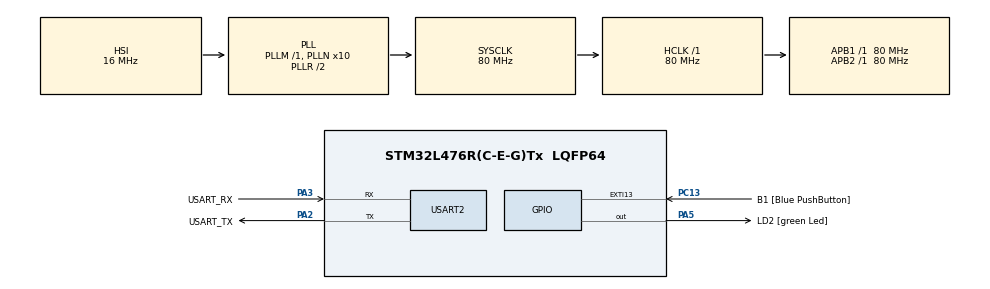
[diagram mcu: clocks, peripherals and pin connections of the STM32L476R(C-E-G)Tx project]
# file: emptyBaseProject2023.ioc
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Mcu.Family=STM32L4
Mcu.Name=STM32L476R(C-E-G)Tx
Mcu.Package=LQFP64
NVIC.PriorityGroup=NVIC_PRIORITYGROUP_4
PA13\ (JTMS-SWDIO).GPIO_Label=TMS
PA13\ (JTMS-SWDIO).Mode=Serial_Wire
PA13\ (JTMS-SWDIO).Signal=SYS_JTMS-SWDIO
PA14\ (JTCK-SWCLK).GPIO_Label=TCK
PA14\ (JTCK-SWCLK).Mode=Serial_Wire
PA14\ (JTCK-SWCLK).Signal=SYS_JTCK-SWCLK
PA2.GPIO_Label=USART_TX
PA2.GPIO_Mode=GPIO_MODE_AF_PP
PA2.GPIO_PuPd=GPIO_NOPULL
PA2.GPIO_Speed=GPIO_SPEED_FREQ_VERY_HIGH
PA2.Mode=Asynchronous
PA2.Signal=USART2_TX
PA3.GPIO_Label=USART_RX
PA3.GPIO_Mode=GPIO_MODE_AF_PP
PA3.GPIO_PuPd=GPIO_NOPULL
PA3.GPIO_Speed=GPIO_SPEED_FREQ_VERY_HIGH
PA3.Mode=Asynchronous
PA3.Signal=USART2_RX
PA5.GPIO_Label=LD2 [green Led]
PA5.GPIO_ModeDefaultOutputPP=GPIO_MODE_OUTPUT_PP
PA5.GPIO_PuPd=GPIO_NOPULL
PA5.GPIO_Speed=GPIO_SPEED_FREQ_LOW
PA5.Signal=GPIO_Output
PB3\ (JTDO-TRACESWO).GPIO_Label=SWO
PB3\ (JTDO-TRACESWO).Signal=SYS_JTDO-SWO
PC13.GPIO_Label=B1 [Blue PushButton]
PC13.GPIO_ModeDefaultEXTI=GPIO_MODE_IT_FALLING
PC13.GPIO_PuPd=GPIO_NOPULL
PC13.Signal=GPXTI13
PC14-OSC32_IN\ (PC14).Mode=LSE-External-Oscillator
PC14-OSC32_IN\ (PC14).Signal=RCC_OSC32_IN
PC15-OSC32_OUT\ (PC15).Mode=LSE-External-Oscillator
PC15-OSC32_OUT\ (PC15).Signal=RCC_OSC32_OUT
PH0-OSC_IN\ (PH0).Signal=RCC_OSC_IN
PH1-OSC_OUT\ (PH1).Signal=RCC_OSC_OUT
ProjectManager.HeapSize=0x200
ProjectManager.StackSize=0x400
ProjectManager.TargetToolchain=STM32CubeIDE
RCC.ADCFreq_Value=64000000
RCC.AHBFreq_Value=80000000
RCC.APB1Freq_Value=80000000
RCC.APB1TimFreq_Value=80000000
RCC.APB2Freq_Value=80000000
RCC.APB2TimFreq_Value=80000000
RCC.CortexFreq_Value=80000000
RCC.HCLKFreq_Value=80000000
RCC.HSE_VALUE=8000000
RCC.HSI_VALUE=16000000
RCC.MSI_VALUE=4000000
RCC.PLLN=10
RCC.PLLSourceVirtual=RCC_PLLSOURCE_HSI
RCC.PREFETCH_ENABLE=1
RCC.SYSCLKFreq_VALUE=80000000
RCC.SYSCLKSource=RCC_SYSCLKSOURCE_PLLCLK
RCC.USBFreq_Value=64000000
RCC.VCOOutputFreq_Value=160000000
USART2.VirtualMode-Asynchronous=VM_ASYNC
board=NUCLEO-L476RG

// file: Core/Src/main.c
/* USER CODE BEGIN Header */
/**
  ******************************************************************************
  * @file           : main.c
  * @brief          : Main program body
  ******************************************************************************
  * @attention
  *
  * Copyright (c) 2023 STMicroelectronics.
  * All rights reserved.
  *
  * This software is licensed under terms that can be found in the LICENSE file
  * in the root directory of this software component.
  * If no LICENSE file comes with this software, it is provided AS-IS.
  *
  ******************************************************************************
  */
/* USER CODE END Header */
#include "main.h"
#include <stdio.h>

UART_HandleTypeDef huart2;

void SystemClock_Config(void);
static void MX_GPIO_Init(void);
static void MX_USART2_UART_Init(void);

/* USER CODE BEGIN 0 */
#ifdef __GNUC__
#define PUTCHAR_PROTOTYPE int __io_putchar(int ch)
#define GETCHAR_PROTOTYPE int __io_getchar(void)
#else
#define PUTCHAR_PROTOTYPE int fputc(int ch, FILE *f)
#define GETCHAR_PROTOTYPE int fgetc(FILE *f)
#endif

PUTCHAR_PROTOTYPE
{
  HAL_UART_Transmit(&huart2, (uint8_t *)&ch, 1, HAL_MAX_DELAY);
  return ch;
}

GETCHAR_PROTOTYPE
{
  uint8_t ch = 0;

  /* Clear the Overrun flag just before receiving the first character */
  __HAL_UART_CLEAR_OREFLAG(&huart2);

  /* Wait for reception of a character on the USART RX line and echo this
   * character on console */
  HAL_UART_Receive(&huart2, (uint8_t *)&ch, 1, HAL_MAX_DELAY);
  HAL_UART_Transmit(&huart2, (uint8_t *)&ch, 1, HAL_MAX_DELAY);
  return ch;
}
/* USER CODE END 0 */

int main(void)
{

  /* MCU Configuration--------------------------------------------------------*/

  /* Reset of all peripherals, Initializes the Flash interface and the Systick. */
  HAL_Init();

  /* Configure the system clock */
  SystemClock_Config();

  /* Initialize all configured peripherals */
  MX_GPIO_Init();
  MX_USART2_UART_Init();
  /* USER CODE BEGIN 2 */
setvbuf(stdin, NULL, _IONBF, 0);	// Buffer d'entrée à 0 pour que scanf fonctionne.

setup();
  /* USER CODE END 2 */

  /* Infinite loop */
  while (1)
  {
	  loop();
  }
}

void SystemClock_Config(void)
{
  RCC_OscInitTypeDef RCC_OscInitStruct = {0};
  RCC_ClkInitTypeDef RCC_ClkInitStruct = {0};

  /** Configure the main internal regulator output voltage
  */
  if (HAL_PWREx_ControlVoltageScaling(PWR_REGULATOR_VOLTAGE_SCALE1) != HAL_OK)
  {
    Error_Handler();
  }

  /** Initializes the RCC Oscillators according to the specified parameters
  * in the RCC_OscInitTypeDef structure.
  */
  RCC_OscInitStruct.OscillatorType = RCC_OSCILLATORTYPE_HSI;
  RCC_OscInitStruct.HSIState = RCC_HSI_ON;
  RCC_OscInitStruct.HSICalibrationValue = RCC_HSICALIBRATION_DEFAULT;
  RCC_OscInitStruct.PLL.PLLState = RCC_PLL_ON;
  RCC_OscInitStruct.PLL.PLLSource = RCC_PLLSOURCE_HSI;
  RCC_OscInitStruct.PLL.PLLM = 1;
  RCC_OscInitStruct.PLL.PLLN = 10;
  RCC_OscInitStruct.PLL.PLLP = RCC_PLLP_DIV7;
  RCC_OscInitStruct.PLL.PLLQ = RCC_PLLQ_DIV2;
  RCC_OscInitStruct.PLL.PLLR = RCC_PLLR_DIV2;
  if (HAL_RCC_OscConfig(&RCC_OscInitStruct) != HAL_OK)
  {
    Error_Handler();
  }

  /** Initializes the CPU, AHB and APB buses clocks
  */
  RCC_ClkInitStruct.ClockType = RCC_CLOCKTYPE_HCLK|RCC_CLOCKTYPE_SYSCLK
                              |RCC_CLOCKTYPE_PCLK1|RCC_CLOCKTYPE_PCLK2;
  RCC_ClkInitStruct.SYSCLKSource = RCC_SYSCLKSOURCE_PLLCLK;
  RCC_ClkInitStruct.AHBCLKDivider = RCC_SYSCLK_DIV1;
  RCC_ClkInitStruct.APB1CLKDivider = RCC_HCLK_DIV1;
  RCC_ClkInitStruct.APB2CLKDivider = RCC_HCLK_DIV1;

  if (HAL_RCC_ClockConfig(&RCC_ClkInitStruct, FLASH_LATENCY_4) != HAL_OK)
  {
    Error_Handler();
  }
}

static void MX_USART2_UART_Init(void)
{

  huart2.Instance = USART2;
  huart2.Init.BaudRate = 115200;
  huart2.Init.WordLength = UART_WORDLENGTH_8B;
  huart2.Init.StopBits = UART_STOPBITS_1;
  huart2.Init.Parity = UART_PARITY_NONE;
  huart2.Init.Mode = UART_MODE_TX_RX;
  huart2.Init.HwFlowCtl = UART_HWCONTROL_NONE;
  huart2.Init.OverSampling = UART_OVERSAMPLING_16;
  huart2.Init.OneBitSampling = UART_ONE_BIT_SAMPLE_DISABLE;
  huart2.AdvancedInit.AdvFeatureInit = UART_ADVFEATURE_NO_INIT;
  if (HAL_UART_Init(&huart2) != HAL_OK)
  {
    Error_Handler();
  }

}

static void MX_GPIO_Init(void)
{
  GPIO_InitTypeDef GPIO_InitStruct = {0};

  /* GPIO Ports Clock Enable */
  __HAL_RCC_GPIOC_CLK_ENABLE();
  __HAL_RCC_GPIOH_CLK_ENABLE();
  __HAL_RCC_GPIOA_CLK_ENABLE();
  __HAL_RCC_GPIOB_CLK_ENABLE();

  /*Configure GPIO pin Output Level */
  HAL_GPIO_WritePin(LD2_GPIO_Port, LD2_Pin, GPIO_PIN_RESET);

  /*Configure GPIO pin : B1_Pin */
  GPIO_InitStruct.Pin = B1_Pin;
  GPIO_InitStruct.Mode = GPIO_MODE_IT_FALLING;
  GPIO_InitStruct.Pull = GPIO_NOPULL;
  HAL_GPIO_Init(B1_GPIO_Port, &GPIO_InitStruct);

  /*Configure GPIO pin : LD2_Pin */
  GPIO_InitStruct.Pin = LD2_Pin;
  GPIO_InitStruct.Mode = GPIO_MODE_OUTPUT_PP;
  GPIO_InitStruct.Pull = GPIO_NOPULL;
  GPIO_InitStruct.Speed = GPIO_SPEED_FREQ_LOW;
  HAL_GPIO_Init(LD2_GPIO_Port, &GPIO_InitStruct);

}

void Error_Handler(void)
{
  __disable_irq();
  while (1)
  {
  }
}
